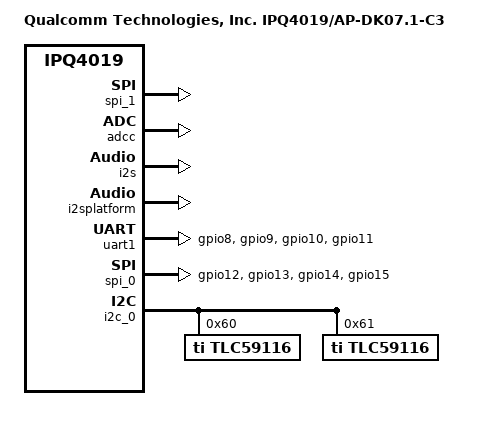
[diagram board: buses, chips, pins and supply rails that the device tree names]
/* Copyright (c) 2016-2017, The Linux Foundation. All rights reserved.
 *
 * Permission to use, copy, modify, and/or distribute this software for any
 * purpose with or without fee is hereby granted, provided that the above
 * copyright notice and this permission notice appear in all copies.
 *
 * THE SOFTWARE IS PROVIDED "AS IS" AND THE AUTHOR DISCLAIMS ALL WARRANTIES
 * WITH REGARD TO THIS SOFTWARE INCLUDING ALL IMPLIED WARRANTIES OF
 * MERCHANTABILITY AND FITNESS. IN NO EVENT SHALL THE AUTHOR BE LIABLE FOR
 * ANY SPECIAL, DIRECT, INDIRECT, OR CONSEQUENTIAL DAMAGES OR ANY DAMAGES
 * WHATSOEVER RESULTING FROM LOSS OF USE, DATA OR PROFITS, WHETHER IN AN
 * ACTION OF CONTRACT, NEGLIGENCE OR OTHER TORTIOUS ACTION, ARISING OUT OF
 * OR IN CONNECTION WITH THE USE OR PERFORMANCE OF THIS SOFTWARE.
 *
 */

#include "qcom-ipq4019-ap.dk07.1.dtsi"
#include "qcom-ipq4019-audio.dtsi"

/ {
	model = "Qualcomm Technologies, Inc. IPQ4019/AP-DK07.1-C3";

	soc {
		qcom_mdss_qpic@7980000 {
			status = "ok";
		};

		qcom_mdss_lcd_qpic_panel {
			status = "ok";
		};

		serial@78b0000 {
			status = "disabled";
		};

		spi_1: spi@78b6000 { /* BLSP1 QUP2 */
			status = "ok";
		};

		pinctrl@0x01000000 {
			audio_gpio_pins: audio_gpio_pinmux {
				mux_1 {
					pins = "gpio25";
					function = "gpio";
					output-high;
				};
				mux_2 {
					pins = "gpio26";
					function = "gpio";
					output-high;
				};
				mux_3 {
					pins = "gpio27";
					function = "gpio";
					output-high;
				};
			};
			audio_pins: audio_pinmux {
				mux_1 {
					pins = "gpio25";
					function = "i2s_tx_bclk";
				};
				mux_2 {
					pins = "gpio26";
					function = "i2s_tx_fsync";
				};
				mux_3 {
					pins = "gpio27";
					function = "i2s_td1";
				};
			};
			uart1_pins: uart1_pinmux {
				mux {
					pins = "gpio8", "gpio9", "gpio10", "gpio11";
					function = "blsp_uart1";
					bias-disable;
				};
			};
			spi_0_pins: spi_0_pinmux {
				mux {
					pins = "gpio12", "gpio13", "gpio14", "gpio15";
					function = "blsp_spi0";
					bias-disable;
				};
			};
			wifi_0_pins: wifi1_pinmux {
				mux_1 {
					pins = "gpio37";
					function="wcss0_dbg16";
					bias-pull-down;
					drive-cap = <DRV_CAP_QUARTER>;
				};
				mux_2 {
					pins = "gpio43";
					function="wifi_wci1";
					bias-pull-down;
					drive-cap = <DRV_CAP_QUARTER>;
				};
				mux_3 {
					pins = "gpio52";
					output-high;
					function="gpio";
					bias-pull-up;
					drive-cap = <DRV_CAP_QUARTER>;
				};
				mux_4 {
					pins = "gpio61";
					output-high;
					function="gpio";
					bias-pull-down;
				};
			};
		};

		adcc: clock-controller@7700038 {
			status = "ok";
		};

		/* Enable Audio Interfaces */
		i2s: ipq4019-pcm-i2s@0 {
			ipq,txmclk-fixed = <1>;
			status = "ok";
		};

		i2splatform: qca-pcm-i2s@7709000 {
			status = "ok";
		};

		uart1:uart@78b0000 {
			pinctrl-0 = <&uart1_pins>;
			pinctrl-1 = <&uart1_pins>;
			pinctrl-names = "default", "sleep";
			status = "ok";
		};

		spi_0: spi@78b5000 { /* BLSP1 QUP1 */
			pinctrl-0 = <&spi_0_pins>;
			pinctrl-names = "default";
			status = "ok";
		};


		wifi0: wifi@a000000 {
			pinctrl-0 = <&wifi_0_pins>;
			pinctrl-names = "default";
			btcoex_support = <1>;
			wlan_prio_gpio = <52>;
			dual_band_switch_gpio = <61>;
		};

		wifi1: wifi@a800000 {
			btcoex_support = <0>;
		};

		i2c_0: i2c@78b7000 { /* BLSP1 QUP2 */
			status = "ok";
			qcom,clk-freq-out = <400000>;

			/* IPQ4019 1.1 Audio Board Configuration */
			tlc59116@60 {
				#address-cells = <1>;
				#size-cells = <0>;
				compatible = "ti,tlc59116";
				reg = <0x60>;
				out0@0 {
					label = "ledsec1_g";
					reg = <0x0>;
				};
				out1@1 {
					label = "ledsec1_r";
					reg = <0x1>;
				};
				out2@2 {
					label = "ledsec1_b";
					reg = <0x2>;
				};
				out3@3 {
					label = "ledsec2_g";
					reg = <0x3>;
				};
				out4@4 {
					label = "ledsec2_r";
					reg = <0x4>;
				};
				out5@5 {
					label = "ledsec2_b";
					reg = <0x5>;
				};
				out6@6 {
					label = "ledsec3_g";
					reg = <0x6>;
				};
				out7@7 {
					label = "ledsec3_r";
					reg = <0x7>;
				};
				out8@8 {
					label = "ledsec3_b";
					reg = <0x8>;
				};
				out9@9 {
					label = "ledsec4_g";
					reg = <0x9>;
				};
				out10@10 {
					label = "ledsec4_r";
					reg = <0xA>;
				};
				out11@11 {
					label = "ledsec4_b";
					reg = <0xB>;
				};
				out12@12 {
					label = "ledsec5_g";
					reg = <0xC>;
				};
				out13@13 {
					label = "ledsec5_r";
					reg = <0xD>;
				};
				out14@14 {
					label = "ledsec5_b";
					reg = <0xE>;
				};
			};

			tlc59116@61 {
				#address-cells = <1>;
				#size-cells = <0>;
				compatible = "ti,tlc59116";
				reg = <0x61>;
				out0@0 {
					label = "ledsec6_g";
					reg = <0x0>;
				};
				out1@1 {
					label = "ledsec6_r";
					reg = <0x1>;
				};
				out2@2 {
					label = "ledsec6_b";
					reg = <0x2>;
				};
				out3@3 {
					label = "ledsec7_g";
					reg = <0x3>;
				};
				out4@4 {
					label = "ledsec7_r";
					reg = <0x4>;
				};
				out5@5 {
					label = "ledsec7_b";
					reg = <0x5>;
				};
				out6@6 {
					label = "ledsec8_g";
					reg = <0x6>;
				};
				out7@7 {
					label = "ledsec8_r";
					reg = <0x7>;
				};
				out8@8 {
					label = "ledsec8_b";
					reg = <0x8>;
				};
				out9@9 {
					label = "ledsec9_g";
					reg = <0x9>;
				};
				out10@10 {
					label = "ledsec9_r";
					reg = <0xA>;
				};
				out11@11 {
					label = "ledsec9_b";
					reg = <0xB>;
				};
			};
		};

		dummy_regulator: regulator@1 {
			compatible = "reg-dummy";
		};

		sdhci@7824000 {
			status = "disabled";
		};

		edma@c080000 {
			qcom,num-cores = <2>;
			qcom,tx-ring-count = <1024>;
			qcom,rx-ring-count = <1024>;
		};
	};
};
